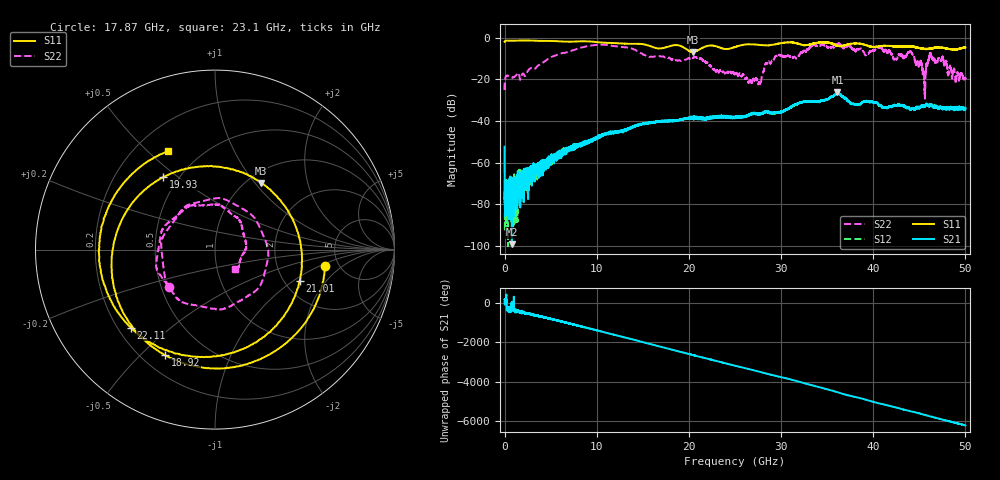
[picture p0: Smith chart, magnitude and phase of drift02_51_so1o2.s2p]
!Created with skrf (http://scikit-rf.org).
# Hz S RI R 50.0
!freq ReS11 ImS11 ReS21 ImS21 ReS12 ImS12 ReS22 ImS22
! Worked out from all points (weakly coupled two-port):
!   10001 points, 300 kHz to 50 GHz, reference 50 ohm
!   highest |S21| = -26.25 dB at 36.12 GHz (marker M1); lowest = -99.2 dB at 785.3 MHz (marker M2)
!   lowest |S11| = -6.9 dB at 20.43 GHz (marker M3), VSWR 2.65, Z = 57.8 + j53.8 ohm
!   |S11| at or under -10 dB: nowhere
!   |S22| runs from -30.2 to -2.6 dB; largest |S21 - S12| = 0.0049
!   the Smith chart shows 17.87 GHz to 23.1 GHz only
!   S11 on the Smith chart (normalised r, x): 17.87 GHz: 3.89, -1.18; 18.92 GHz: 0.29, -0.59; 19.93 GHz: 0.41, +0.44; 21.01 GHz: 2.42, -1.12; 22.11 GHz: 0.25, -0.37; 23.1 GHz: 0.33, +0.58
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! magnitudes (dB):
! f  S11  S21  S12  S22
! 300 kHz  -2.0  -52.4  -68.5  -21.6
! 255.3 MHz  -1.4  -74.3  -84.8  -18.2
! 785.3 MHz  -1.5  -99.2  -78.7  -19.1
! 8.335 GHz  -1.7  -50.7  -52.0  -4.7
! 16.67 GHz  -5.2  -40.3  -40.2  -9.0
! 17.87 GHz  -4.1  -40.1  -40.0  -9.6
! 18.92 GHz  -3.7  -39.6  -39.6  -10.8
! 19.93 GHz  -6.1  -38.7  -38.6  -9.9
! 20.43 GHz  -6.9  -38.7  -38.7  -9.8
! 21.01 GHz  -6.0  -38.5  -38.8  -9.4
! 22.11 GHz  -3.9  -38.5  -38.9  -12.7
! 23.1 GHz  -4.3  -37.9  -37.9  -16.2
! 25 GHz  -4.5  -38.4  -38.5  -17.7
! 27.63 GHz  -3.5  -36.7  -36.6  -21.4
! 29.54 GHz  -3.0  -35.9  -36.2  -8.7
! 33.34 GHz  -3.1  -30.6  -30.6  -3.8
! 36.12 GHz  -3.8  -26.2  -27.0  -3.1
! 41.67 GHz  -3.9  -33.3  -33.4  -6.0
! 44.15 GHz  -4.3  -34.2  -34.2  -7.3
! 45.5 GHz  -5.4  -32.9  -33.0  -16.8
! 46.27 GHz  -5.2  -32.4  -32.4  -8.8
! 50 GHz  -4.7  -33.8  -34.1  -19.7
